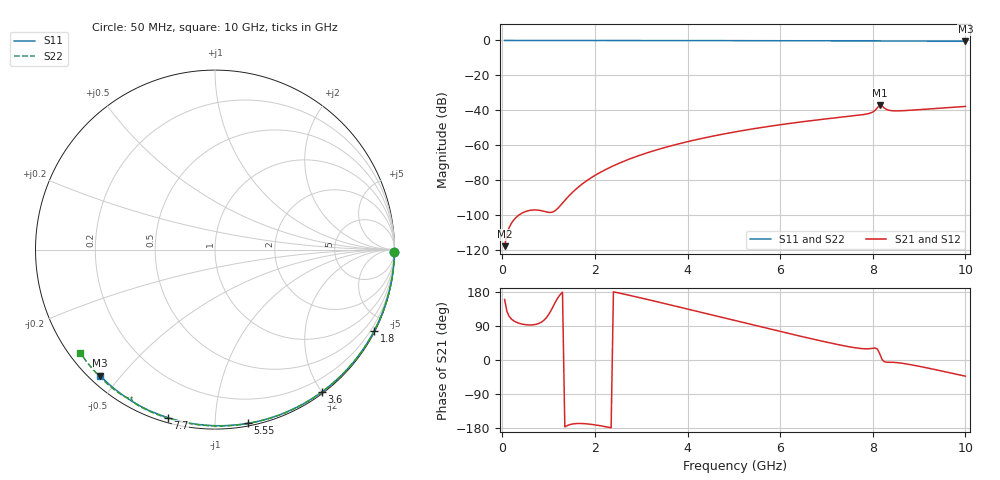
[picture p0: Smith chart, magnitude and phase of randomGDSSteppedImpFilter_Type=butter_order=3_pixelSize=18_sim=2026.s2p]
! freq	dB(S11)	phase(S11)	dB(S12)	phase(S12)
!  dB(S21)	phase(S21)	dB(S22)	phase(S22)
!S-par simulation data
#  GHz  S  DB  R 50
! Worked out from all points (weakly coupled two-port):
!   200 points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, 50 MHz to 10 GHz, reference 50 ohm
!   highest |S21| = -37.08 dB at 8.15 GHz (marker M1); lowest = -117.9 dB at 50 MHz (marker M2)
!   lowest |S11| = -0.4 dB at 10 GHz (marker M3), VSWR 39.06, Z = 1.53 - j22.1 ohm
!   |S11| at or under -10 dB: nowhere
!   |S22| runs from -0.5 to 0.0 dB; largest |S21 - S12| = 0
!   S11 on the Smith chart (normalised r, x): 50 MHz: open; 1.8 GHz: 0.04, -4.14; 3.6 GHz: 0.02, -2.00; 5.55 GHz: 0.02, -1.21; 7.7 GHz: 0.02, -0.76; 10 GHz: 0.03, -0.44
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0.05  -0.00 -0.8  -117.86 159.7  -117.86 159.7  -0.00 -0.8
0.85  -0.02 -12.9  -97.58 100.4  -97.58 100.4  -0.01 -14.0
1.75  -0.03 -26.4  -81.75 -167.8  -81.75 -167.8  -0.04 -28.5
1.8  -0.03 -27.2  -80.78 -168.2  -80.78 -168.2  -0.04 -29.2
1.85  -0.04 -27.9  -79.87 -168.8  -79.87 -168.8  -0.04 -30.0
2.15  -0.04 -32.3  -75.09 -174.2  -75.09 -174.2  -0.04 -34.8
2.55  -0.05 -38.1  -70.03 176.0  -70.03 176.0  -0.05 -41.1
2.95  -0.06 -43.9  -65.97 165.0  -65.97 165.0  -0.06 -47.2
3.4  -0.07 -50.3  -62.17 152.1  -62.17 152.1  -0.07 -54.1
3.6  -0.07 -53.1  -60.68 146.2  -60.68 146.2  -0.08 -57.1
4.3  -0.09 -62.7  -56.18 125.5  -56.18 125.5  -0.10 -67.4
5.05  -0.11 -72.7  -52.28 103.2  -52.28 103.2  -0.12 -78.1
5.55  -0.13 -79.2  -50.07 88.5  -50.07 88.5  -0.14 -85.1
6.7  -0.18 -93.7  -45.85 55.4  -45.85 55.4  -0.19 -100.6
7.7  -0.24 -105.8  -42.82 30.9  -42.82 30.9  -0.26 -113.7
7.9  -0.26 -108.1  -41.96 29.6  -41.96 29.6  -0.29 -116.4
8  -0.27 -109.3  -41.01 30.9  -41.01 30.9  -0.31 -117.9
8.05  -0.27 -109.9  -40.05 31.5  -40.05 31.5  -0.35 -118.6
8.15  -0.27 -111.0  -37.08 16.7  -37.08 16.7  -0.50 -119.4
8.35  -0.28 -113.4  -40.00 -5.9  -40.00 -5.9  -0.34 -121.3
8.65  -0.31 -116.9  -40.24 -8.9  -40.24 -8.9  -0.35 -125.3
10  -0.44 -132.3  -37.80 -42.7  -37.80 -42.7  -0.48 -142.4
